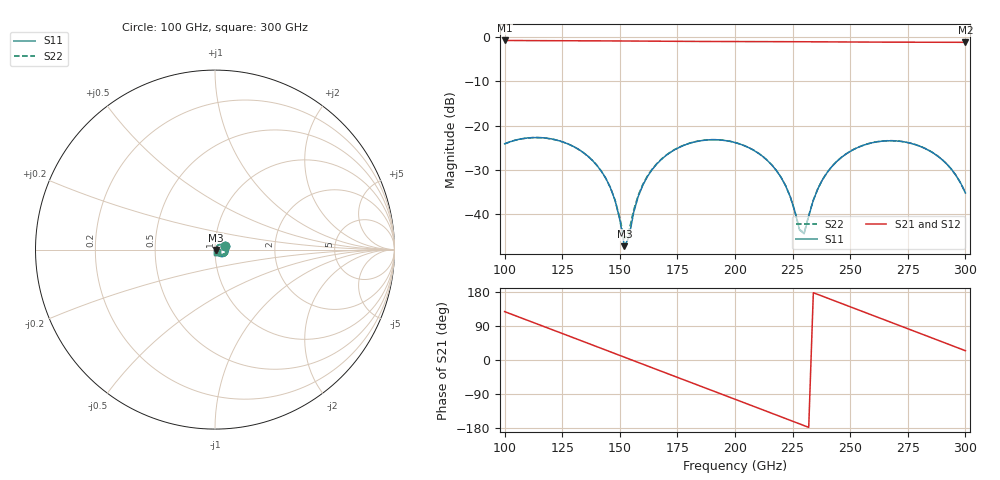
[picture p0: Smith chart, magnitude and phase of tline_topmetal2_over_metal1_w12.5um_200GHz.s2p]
#  GHZ S DB R 50
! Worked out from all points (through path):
!   101 points, 100 GHz to 300 GHz, reference 50 ohm
!   highest |S21| = -0.74 dB at 100 GHz (marker M1); lowest = -1.2 dB at 300 GHz (marker M2)
!   group delay of S21, straight-line fit = 6.43 ps
!   lowest |S11| = -47.3 dB at 152 GHz (marker M3), VSWR 1.01, Z = 50.4 - j0.221 ohm
!   |S11| at or under -10 dB: start of sweep to end of sweep
!   |S22| runs from -45.6 to -22.7 dB; largest |S21 - S12| = 1.6e-13
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100  -24.12 20.9  -0.74 127.7  -0.74 127.7  -24.13 21.2
116  -22.73 -12.5  -0.79 90.8  -0.79 90.8  -22.74 -12.1
134  -26.03 -49.9  -0.82 49.2  -0.82 49.2  -26.04 -49.0
146  -34.15 -69.3  -0.84 21.4  -0.84 21.4  -34.13 -66.3
150  -41.24 -62.9  -0.86 12.1  -0.86 12.1  -40.89 -56.3
152  -47.27 -30.4  -0.86 7.4  -0.86 7.4  -45.58 -23.1
154  -45.23 36.7  -0.87 2.8  -0.87 2.8  -43.82 31.0
160  -33.46 58.1  -0.89 -11.1  -0.89 -11.1  -33.28 55.1
168  -27.66 45.7  -0.91 -29.6  -0.91 -29.6  -27.59 44.1
184  -23.52 13.1  -0.96 -66.6  -0.96 -66.6  -23.49 12.1
200  -23.83 -20.6  -0.99 -103.6  -0.99 -103.6  -23.81 -21.3
218  -30.18 -54.4  -1.01 -145.3  -1.01 -145.3  -30.16 -54.9
224  -36.12 -57.0  -1.02 -159.2  -1.02 -159.2  -36.09 -57.3
228  -43.60 -28.7  -1.03 -168.5  -1.03 -168.5  -43.46 -28.8
230  -44.46 19.3  -1.04 -173.2  -1.04 -173.2  -44.27 18.3
234  -36.88 56.9  -1.04 177.6  -1.04 177.6  -36.83 55.8
240  -30.60 55.9  -1.06 163.6  -1.06 163.6  -30.57 54.9
246  -27.27 46.3  -1.08 149.7  -1.08 149.7  -27.24 45.4
258  -24.08 22.7  -1.11 121.9  -1.11 121.9  -24.05 21.8
268  -23.43 2.0  -1.13 98.8  -1.13 98.8  -23.40 1.1
288  -26.90 -37.8  -1.15 52.4  -1.15 52.4  -26.87 -38.7
300  -35.23 -49.0  -1.16 24.5  -1.16 24.5  -35.21 -50.3
